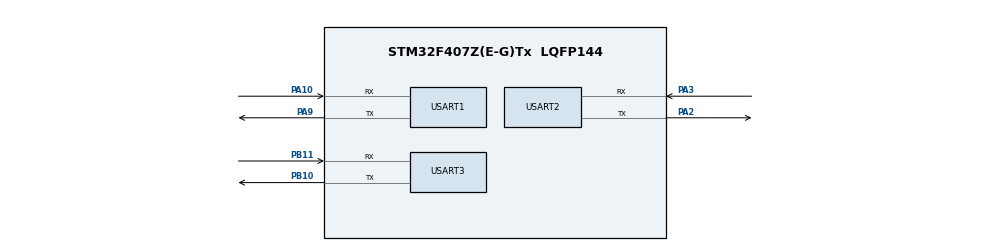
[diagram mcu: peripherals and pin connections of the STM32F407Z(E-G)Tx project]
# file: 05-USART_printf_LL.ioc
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Mcu.Family=STM32F4
Mcu.Name=STM32F407Z(E-G)Tx
Mcu.Package=LQFP144
NVIC.PriorityGroup=NVIC_PRIORITYGROUP_4
PA10.Mode=Asynchronous
PA10.Signal=USART1_RX
PA13.Mode=Serial_Wire
PA13.Signal=SYS_JTMS-SWDIO
PA14.Mode=Serial_Wire
PA14.Signal=SYS_JTCK-SWCLK
PA2.Mode=Asynchronous
PA2.Signal=USART2_TX
PA3.Mode=Asynchronous
PA3.Signal=USART2_RX
PA9.Mode=Asynchronous
PA9.Signal=USART1_TX
PB10.Mode=Asynchronous
PB10.Signal=USART3_TX
PB11.Mode=Asynchronous
PB11.Signal=USART3_RX
PH0-OSC_IN.Mode=HSE-External-Oscillator
PH0-OSC_IN.Signal=RCC_OSC_IN
PH1-OSC_OUT.Mode=HSE-External-Oscillator
PH1-OSC_OUT.Signal=RCC_OSC_OUT
ProjectManager.HeapSize=0x200
ProjectManager.StackSize=0x400
ProjectManager.TargetToolchain=MDK-ARM V5
RCC.48MHZClocksFreq_Value=84000000
RCC.AHBFreq_Value=168000000
RCC.APB1CLKDivider=RCC_HCLK_DIV4
RCC.APB1Freq_Value=42000000
RCC.APB1TimFreq_Value=84000000
RCC.APB2CLKDivider=RCC_HCLK_DIV2
RCC.APB2Freq_Value=84000000
RCC.APB2TimFreq_Value=168000000
RCC.CortexFreq_Value=168000000
RCC.HCLKFreq_Value=168000000
RCC.HSE_VALUE=8000000
RCC.HSI_VALUE=16000000
RCC.LSE_VALUE=32768
RCC.PLLM=8
RCC.PLLN=168
RCC.SYSCLKFreq_VALUE=168000000
RCC.SYSCLKSource=RCC_SYSCLKSOURCE_PLLCLK
RCC.VCOOutputFreq_Value=336000000
USART1.VirtualMode=VM_ASYNC
USART2.VirtualMode=VM_ASYNC
USART3.VirtualMode=VM_ASYNC
board=custom

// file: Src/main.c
/* USER CODE BEGIN Header */
/**
  ******************************************************************************
  * @file           : main.c
  * @brief          : Main program body
  ******************************************************************************
  * @attention
  *
  * <h2><center>&copy; Copyright (c) 2019 STMicroelectronics.
  * All rights reserved.</center></h2>
  *
  * This software component is licensed by ST under BSD 3-Clause license,
  * the "License"; You may not use this file except in compliance with the
  * License. You may obtain a copy of the License at:
  *                        opensource.org/licenses/BSD-3-Clause
  *
  ******************************************************************************
  */
/* USER CODE END Header */

#include "main.h"
#include "usart.h"
#include "gpio.h"
#include "string.h"
#include "stdio.h"

void SystemClock_Config(void);
/* USER CODE BEGIN PFP */

#ifdef __GNUC__
  /* With GCC, small printf (option LD Linker->Libraries->Small printf
     set to 'Yes') calls __io_putchar() */
  #define PUTCHAR_PROTOTYPE int __io_putchar(int ch)
#else
  #define PUTCHAR_PROTOTYPE int fputc(int ch, FILE *f)
#endif /* __GNUC__ */

void user_UART_Init(void);

/* USER CODE END PFP */

/* USER CODE BEGIN 0 */

void user_UART_Transmit(USART_TypeDef *USARTx, uint8_t *msg, uint32_t length);

uint8_t info[] = "hello usart1!\r\n\0";
uint8_t info1[] = "test info 2 !\r\n\0";

/* USER CODE END 0 */

int main(void)
{

  /* MCU Configuration--------------------------------------------------------*/

  /* Reset of all peripherals, Initializes the Flash interface and the Systick. */

  LL_APB2_GRP1_EnableClock(LL_APB2_GRP1_PERIPH_SYSCFG);
  LL_APB1_GRP1_EnableClock(LL_APB1_GRP1_PERIPH_PWR);

  NVIC_SetPriorityGrouping(NVIC_PRIORITYGROUP_4);

  /* System interrupt init*/

  /* Configure the system clock */
  SystemClock_Config();

  /* Initialize all configured peripherals */
  MX_GPIO_Init();
  MX_USART1_UART_Init();
  MX_USART2_UART_Init();
  MX_USART3_UART_Init();
  /* USER CODE BEGIN 2 */

  user_UART_Init();

  /* USER CODE END 2 */

  /* Infinite loop */
  while (1)
  {

    /* USER CODE BEGIN 3 */

      user_UART_Transmit(USART1, info, sizeof(info));
      LL_mDelay(1);
      printf("test printf\r\n");
      LL_mDelay(1);
      user_UART_Transmit(USART1, info1, sizeof(info1));

      LL_mDelay(2000);
  }
  /* USER CODE END 3 */
}

void SystemClock_Config(void)
{
  LL_FLASH_SetLatency(LL_FLASH_LATENCY_5);

  if(LL_FLASH_GetLatency() != LL_FLASH_LATENCY_5)
  {
  Error_Handler();
  }
  LL_PWR_SetRegulVoltageScaling(LL_PWR_REGU_VOLTAGE_SCALE1);
  LL_RCC_HSI_SetCalibTrimming(16);
  LL_RCC_HSI_Enable();

   /* Wait till HSI is ready */
  while(LL_RCC_HSI_IsReady() != 1)
  {

  }
  LL_RCC_PLL_ConfigDomain_SYS(LL_RCC_PLLSOURCE_HSI, LL_RCC_PLLM_DIV_8, 168, LL_RCC_PLLP_DIV_2);
  LL_RCC_PLL_Enable();

   /* Wait till PLL is ready */
  while(LL_RCC_PLL_IsReady() != 1)
  {

  }
  LL_RCC_SetAHBPrescaler(LL_RCC_SYSCLK_DIV_1);
  LL_RCC_SetAPB1Prescaler(LL_RCC_APB1_DIV_4);
  LL_RCC_SetAPB2Prescaler(LL_RCC_APB2_DIV_2);
  LL_RCC_SetSysClkSource(LL_RCC_SYS_CLKSOURCE_PLL);

   /* Wait till System clock is ready */
  while(LL_RCC_GetSysClkSource() != LL_RCC_SYS_CLKSOURCE_STATUS_PLL)
  {

  }
  LL_Init1msTick(168000000);
  LL_SYSTICK_SetClkSource(LL_SYSTICK_CLKSOURCE_HCLK);
  LL_SetSystemCoreClock(168000000);
}

/* USER CODE BEGIN 4 */

void user_UART_Init(void)
{

}

void user_UART_Transmit(USART_TypeDef *USARTx, uint8_t *msg, uint32_t length)
{
    for(uint32_t i=0; i<length; ++i)
    {
        while(! LL_USART_IsActiveFlag_TXE(USARTx));
        LL_USART_TransmitData8(USARTx, msg[i]);
    }
    while(! LL_USART_IsActiveFlag_TC(USARTx));
}

/**
  * @brief  Retargets the C library printf function to the USART.
  * @param  None
  * @retval None
  */
PUTCHAR_PROTOTYPE
{
  /* Place your implementation of fputc here */
  /* e.g. write a character to the EVAL_COM1 and Loop until the end of transmission */

  while(! LL_USART_IsActiveFlag_TXE(USART1));
  LL_USART_TransmitData8(USART1, (uint8_t)ch);
  while(! LL_USART_IsActiveFlag_TC(USART1));

  return ch;
}

/* USER CODE END 4 */

void Error_Handler(void)
{
}

/************************ (C) COPYRIGHT STMicroelectronics *****END OF FILE****/
